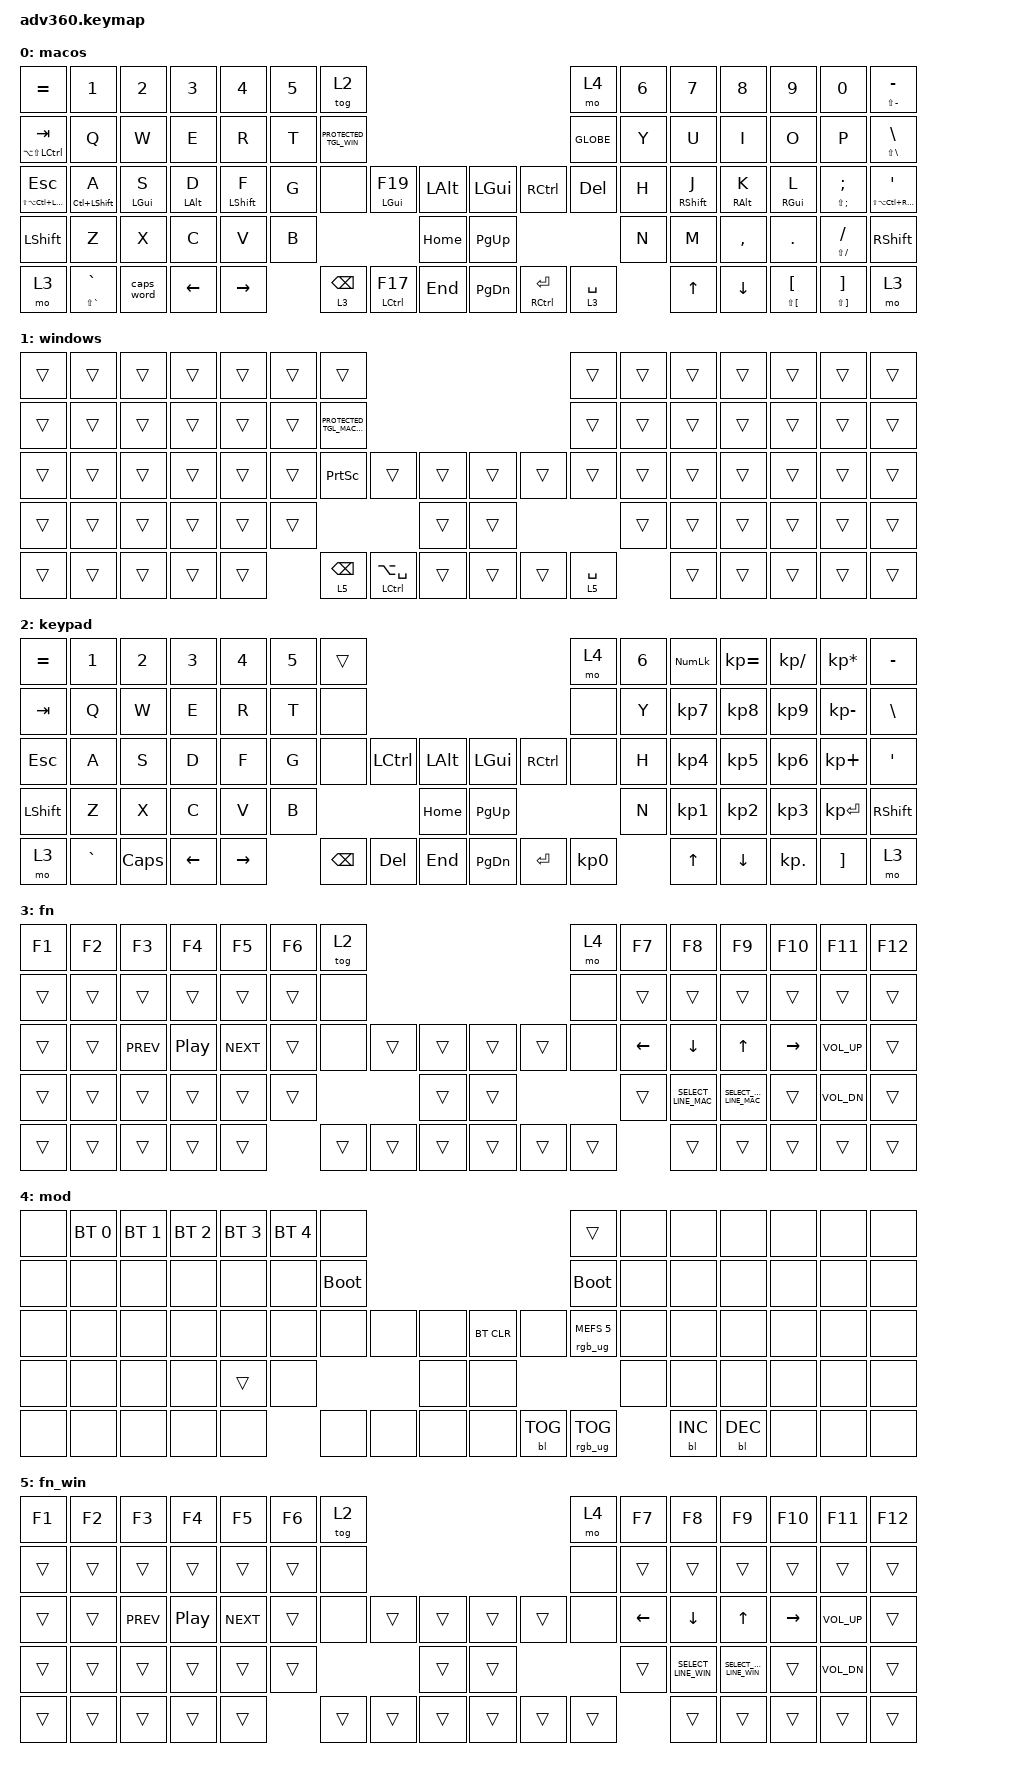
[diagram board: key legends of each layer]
#include <behaviors.dtsi>
#include <dt-bindings/zmk/backlight.h>
#include <dt-bindings/zmk/bt.h>
#include <dt-bindings/zmk/keys.h>
#include <dt-bindings/zmk/rgb.h>

/ {
    behaviors {
        #include "macros.dtsi"
      #include "version.dtsi"
      #ifndef VERSION_MACRO


        #endif

        hm: homerow_mods {
            compatible = "zmk,behavior-hold-tap";
            label = "HOMEROW_MODS";
            #binding-cells = <2>;
            tapping-term-ms = <200>;
            quick_tap_ms = <175>;
            flavor = "tap-preferred";
            bindings = <&kp>, <&kp>;
        };

        SELECT_WORD_LINE_MAC: SELECT_WORD_LINE_MAC {
            compatible = "zmk,behavior-tap-dance";
            label = "SELECT_WORD_LINE_MAC";
            #binding-cells = <0>;
            bindings = <&SELECT_WORD_MAC>, <&SELECT_LINE_MAC>;
        };

        SELECT_WORD_LINE_WIN: SELECT_WORD_LINE_WIN {
            compatible = "zmk,behavior-tap-dance";
            label = "SELECT_WORD_LINE_WIN";
            #binding-cells = <0>;
            bindings = <&SELECT_WORD_WIN>, <&SELECT_LINE_WIN>;
        };

        PROTECTED_TGL_MACOS: PROTECTED_TGL_MACOS {
            compatible = "zmk,behavior-mod-morph";
            label = "PROTECTED_TGL_MACOS";
            bindings = <&none>, <&SWITCH_TO_MAC_LOGI_VERTICAL>;

            #binding-cells = <0>;
            mods = <(MOD_LCTL|MOD_LSFT|MOD_LGUI|MOD_LALT)>;
        };

        PROTECTED_TGL_WIN: PROTECTED_TGL_WIN {
            compatible = "zmk,behavior-mod-morph";
            label = "PROTECTED_TGL_WIN";
            bindings = <&none>, <&SWITCH_TO_WIN_LOGI_VERTICAL>;

            #binding-cells = <0>;
            mods = <(MOD_LCTL|MOD_LSFT|MOD_LALT|MOD_LGUI)>;
        };

        NO_SYSDIAG_HYPER_PERIOD: NO_SYSDIAG_HYPER_PERIOD {
            compatible = "zmk,behavior-mod-morph";
            label = "NO_SYSDIAG_HYPER_PERIOD";
            bindings = <&kp PERIOD>, <&kp PERIOD>;

            #binding-cells = <0>;
            mods = <(MOD_LCTL|MOD_LSFT|MOD_LALT|MOD_LGUI)>;
        };
    };

    macros {
        SELECT_LINE_WIN: SELECT_LINE_WIN {
            compatible = "zmk,behavior-macro";
            #binding-cells = <0>;
            bindings = <&macro_tap>, <&kp HOME &kp LS(END)>;

            label = "SELECT_LINE_WIN";
        };

        TOGGLE_WINDOWS: TOGGLE_WINDOWS {
            compatible = "zmk,behavior-macro";
            #binding-cells = <0>;
            bindings = <&bt BT_SEL 2 &tog 1>;
            label = "TOGGLE_WINDOWS";
        };

        TOGGLE_MACOS: TOGGLE_MACOS {
            compatible = "zmk,behavior-macro";
            #binding-cells = <0>;
            bindings = <&bt BT_SEL 0 &tog 1>;
            label = "TOGGLE_MACOS";
        };

        SELECT_LINE_MAC: SELECT_LINE_MAC {
            compatible = "zmk,behavior-macro";
            #binding-cells = <0>;
            bindings = <&kp LC(A) &kp LC(LS(E))>;
            label = "SELECT_LINE_MAC";
        };

        SELECT_WORD_MAC: SELECT_WORD_MAC {
            compatible = "zmk,behavior-macro";
            #binding-cells = <0>;
            bindings = <&kp LA(LEFT) &kp LA(LS(RIGHT_ARROW))>;
            label = "SELECT_WORD_MAC";
        };

        SELECT_WORD_WIN: SELECT_WORD_WIN {
            compatible = "zmk,behavior-macro";
            #binding-cells = <0>;
            bindings = <&kp LC(LEFT_ARROW) &kp LC(LS(RIGHT))>;
            label = "SELECT_WORD_WIN";
        };

        HYPER_0: HYPER_0 {
            compatible = "zmk,behavior-macro";
            #binding-cells = <0>;
            bindings = <&kp LC(LG(LA(LS(N0))))>;
            label = "HYPER_0";
        };

        SWITCH_TO_MAC_LOGI_VERTICAL: SWITCH_TO_MAC_LOGI_VERTICAL {
            compatible = "zmk,behavior-macro";
            #binding-cells = <0>;
            bindings = <&HYPER_0 &TOGGLE_MACOS>;
            label = "SWITCH_TO_MAC_LOGI_VERTICAL";
        };

        SWITCH_TO_WIN_LOGI_VERTICAL: SWITCH_TO_WIN_LOGI_VERTICAL {
            compatible = "zmk,behavior-macro";
            #binding-cells = <0>;
            bindings = <&HYPER_0 &TOGGLE_WINDOWS>;
            label = "SWITCH_TO_WIN_LOGI_VERTICAL";
        };
    };

    combos {
        compatible = "zmk,combos";

        open_curly {
            bindings = <&kp LEFT_BRACE>;
            key-positions = <55 56>;
        };

        close_curly {
            bindings = <&kp RIGHT_BRACE>;
            key-positions = <56 57>;
        };
    };

    keymap {
        compatible = "zmk,keymap";

        macos {
            bindings = <
&kp EQUAL                 &kp N1                &kp N2      &kp N3      &kp N4            &kp N5  &tog 2                                                                       &mo 4        &kp N6  &kp N7       &kp N8      &kp N9                     &kp N0                       &hm LS(MINUS) MINUS
&mt LA(LS(LCTRL)) TAB     &kp Q                 &kp W       &kp E       &kp R             &kp T   &PROTECTED_TGL_WIN                                                           &kp GLOBE    &kp Y   &kp U        &kp I       &kp O                      &kp P                        &hm LS(BSLH) BACKSLASH
&hm LS(LA(LC(LGUI))) ESC  &hm LC(LEFT_SHIFT) A  &hm LGUI S  &hm LALT D  &hm LEFT_SHIFT F  &kp G   &none               &mt LGUI F19   &kp LALT      &kp LGUI   &kp RCTRL        &kp DEL      &kp H   &hm RSHFT J  &hm RALT K  &hm RGUI L                 &hm LS(SEMICOLON) SEMICOLON  &hm LS(LA(LC(RGUI))) SINGLE_QUOTE
&kp LSHFT                 &kp Z                 &kp X       &kp C       &kp V             &kp B                                      &kp HOME      &kp PG_UP                                &kp N   &kp M        &kp COMMA   &kp PERIOD                 &hm LS(FSLH) FSLH            &kp RSHFT
&mo 3                     &mt LS(GRAVE) GRAVE   &caps_word  &kp LEFT    &kp RIGHT                 &lt 3 BSPC          &mt LCTRL F17  &kp END       &kp PG_DN  &hm RCTRL ENTER  &lt 3 SPACE          &kp UP       &kp DOWN    &hm LS(LBKT) LEFT_BRACKET  &hm LS(RBKT) RIGHT_BRACKET   &mo 3
            >;
        };

        windows {
            bindings = <
&trans  &trans  &trans  &trans  &trans  &trans  &trans                                                                 &trans       &trans  &trans  &trans  &trans  &trans  &trans
&trans  &trans  &trans  &trans  &trans  &trans  &PROTECTED_TGL_MACOS                                                   &trans       &trans  &trans  &trans  &trans  &trans  &trans
&trans  &trans  &trans  &trans  &trans  &trans  &kp PRINTSCREEN       &trans               &trans      &trans  &trans  &trans       &trans  &trans  &trans  &trans  &trans  &trans
&trans  &trans  &trans  &trans  &trans  &trans                                             &trans      &trans                       &trans  &trans  &trans  &trans  &trans  &trans
&trans  &trans  &trans  &trans  &trans          &lt 5 BSPC            &mt LCTRL LA(SPACE)  &trans      &trans  &trans  &lt 5 SPACE          &trans  &trans  &trans  &trans  &trans
            >;
        };

        keypad {
            bindings = <
&kp EQUAL  &kp N1     &kp N2    &kp N3    &kp N4     &kp N5  &trans                                                   &mo 4      &kp N6  &kp KP_NUM  &kp KP_EQUAL  &kp KP_DIVIDE  &kp KP_MULTIPLY  &kp MINUS
&kp TAB    &kp Q      &kp W     &kp E     &kp R      &kp T   &none                                                    &none      &kp Y   &kp KP_N7   &kp KP_N8     &kp KP_N9      &kp KP_MINUS     &kp BSLH
&kp ESC    &kp A      &kp S     &kp D     &kp F      &kp G   &none     &kp LCTRL  &kp LALT      &kp LGUI   &kp RCTRL  &none      &kp H   &kp KP_N4   &kp KP_N5     &kp KP_N6      &kp KP_PLUS      &kp SQT
&kp LSHFT  &kp Z      &kp X     &kp C     &kp V      &kp B                        &kp HOME      &kp PG_UP                        &kp N   &kp KP_N1   &kp KP_N2     &kp KP_N3      &kp KP_ENTER     &kp RSHFT
&mo 3      &kp GRAVE  &kp CAPS  &kp LEFT  &kp RIGHT          &kp BSPC  &kp DEL    &kp END       &kp PG_DN  &kp ENTER  &kp KP_N0          &kp UP      &kp DOWN      &kp KP_DOT     &kp RBKT         &mo 3
            >;
        };

        fn {
            bindings = <
&kp F1  &kp F2  &kp F3      &kp F4            &kp F5      &kp F6  &tog 2                                      &mo 4   &kp F7          &kp F8            &kp F9                 &kp F10    &kp F11       &kp F12
&trans  &trans  &trans      &trans            &trans      &trans  &none                                       &none   &trans          &trans            &trans                 &trans     &trans        &trans
&trans  &trans  &kp C_PREV  &kp C_PLAY_PAUSE  &kp C_NEXT  &trans  &none   &trans  &trans      &trans  &trans  &none   &kp LEFT_ARROW  &kp DOWN          &kp UP_ARROW           &kp RIGHT  &kp C_VOL_UP  &trans
&trans  &trans  &trans      &trans            &trans      &trans                  &trans      &trans                  &trans          &SELECT_LINE_MAC  &SELECT_WORD_LINE_MAC  &trans     &kp C_VOL_DN  &trans
&trans  &trans  &trans      &trans            &trans              &trans  &trans  &trans      &trans  &trans  &trans                  &trans            &trans                 &trans     &trans        &trans
            >;
        };

        mod {
            bindings = <
&none  &bt BT_SEL 0  &bt BT_SEL 1  &bt BT_SEL 2  &bt BT_SEL 3  &bt BT_SEL 4  &none                                                  &trans                  &none  &none       &none       &none  &none  &none
&none  &none         &none         &none         &none         &none         &bootloader                                            &bootloader             &none  &none       &none       &none  &none  &none
&none  &none         &none         &none         &none         &none         &none        &none  &none      &bt BT_CLR  &none       &rgb_ug RGB_MEFS_CMD 5  &none  &none       &none       &none  &none  &none
&none  &none         &none         &none         &trans        &none                             &none      &none                                           &none  &none       &none       &none  &none  &none
&none  &none         &none         &none         &none                       &none        &none  &none      &none       &bl BL_TOG  &rgb_ug RGB_TOG                &bl BL_INC  &bl BL_DEC  &none  &none  &none
            >;
        };

        fn_win {
            bindings = <
&kp F1  &kp F2  &kp F3      &kp F4            &kp F5      &kp F6  &tog 2                                      &mo 4   &kp F7          &kp F8            &kp F9                 &kp F10    &kp F11       &kp F12
&trans  &trans  &trans      &trans            &trans      &trans  &none                                       &none   &trans          &trans            &trans                 &trans     &trans        &trans
&trans  &trans  &kp C_PREV  &kp C_PLAY_PAUSE  &kp C_NEXT  &trans  &none   &trans  &trans      &trans  &trans  &none   &kp LEFT_ARROW  &kp DOWN          &kp UP_ARROW           &kp RIGHT  &kp C_VOL_UP  &trans
&trans  &trans  &trans      &trans            &trans      &trans                  &trans      &trans                  &trans          &SELECT_LINE_WIN  &SELECT_WORD_LINE_WIN  &trans     &kp C_VOL_DN  &trans
&trans  &trans  &trans      &trans            &trans              &trans  &trans  &trans      &trans  &trans  &trans                  &trans            &trans                 &trans     &trans        &trans
            >;
        };
    };
};
